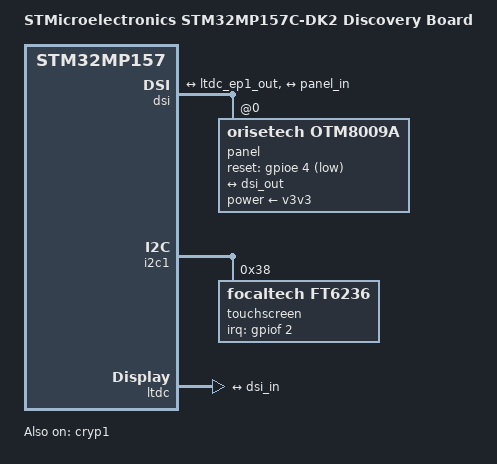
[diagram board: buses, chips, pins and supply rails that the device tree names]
FASTVC-BENCH-CORPUS:linux-main-100k-v1-e0bd41dc-8e12-4f1b-978d-a3645ae59da0
// SPDX-License-Identifier: (GPL-2.0+ OR BSD-3-Clause)
/*
 * Copyright (C) STMicroelectronics 2019 - All Rights Reserved
 * Author: Alexandre Torgue <alexandre.torgue@st.com> for STMicroelectronics.
 */
/* bench 26594.1.0 18c214dbce26 */
/* bench 26594.1.1 08473f96636a */
/* bench 26594.1.2 e5229cb0d063 */
/* bench 26594.1.3 9375527055b5 */
/* bench 26594.1.4 8d7ab46739da */
/* bench 26594.1.5 c41a13e3159f */

/dts-v1/;

#include "stm32mp157.dtsi"
#include "stm32mp15xc.dtsi"
#include "stm32mp15-pinctrl.dtsi"
#include "stm32mp15xxac-pinctrl.dtsi"
#include "stm32mp15xx-dkx.dtsi"

/ {
	model = "STMicroelectronics STM32MP157C-DK2 Discovery Board";
	compatible = "st,stm32mp157c-dk2", "st,stm32mp157";

	aliases {
		ethernet0 = &ethernet0;
		serial0 = &uart4;
		serial1 = &usart3;
		serial2 = &uart7;
		serial3 = &usart2;
	};

	chosen {
		stdout-path = "serial0:115200n8";
	};
};

&cryp1 {
	status = "okay";
};

&dsi {
	status = "okay";
	phy-dsi-supply = <&reg18>;

	ports {
		port@0 {
			reg = <0>;
			dsi_in: endpoint {
				remote-endpoint = <&ltdc_ep1_out>;
			};
		};

		port@1 {
			reg = <1>;
			dsi_out: endpoint {
				remote-endpoint = <&panel_in>;
			};
		};
	};

	panel@0 {
		compatible = "orisetech,otm8009a";
		reg = <0>;
		reset-gpios = <&gpioe 4 GPIO_ACTIVE_LOW>;
		power-supply = <&v3v3>;
		status = "okay";

		port {
			panel_in: endpoint {
				remote-endpoint = <&dsi_out>;
			};
		};
	};
};

&i2c1 {
	touchscreen@38 {
		compatible = "focaltech,ft6236";
		reg = <0x38>;
		interrupts = <2 2>;
		interrupt-parent = <&gpiof>;
		interrupt-controller;
		touchscreen-size-x = <480>;
		touchscreen-size-y = <800>;
		status = "okay";
	};
};

&ltdc {
	status = "okay";

/* bench 17039.0.0 a304d906a4d5 */
/* bench 17039.0.1 f539ff2e6dd9 */
/* bench 17039.0.2 c7684cca0d19 */
/* bench 17039.0.3 0c966649a762 */
/* bench 17039.0.4 cbb72a83c719 */
/* bench 17039.0.5 f4c55acc3853 */
/* bench 17039.0.6 0c2d10e05398 */
/* bench 17039.0.7 844e78de16f4 */
		ltdc_ep1_out: endpoint@1 {
			reg = <1>;
			remote-endpoint = <&dsi_in>;
		};
	};
};

&usart2 {
	pinctrl-names = "default", "sleep", "idle";
	pinctrl-0 = <&usart2_pins_c>;
	pinctrl-1 = <&usart2_sleep_pins_c>;
	pinctrl-2 = <&usart2_idle_pins_c>;
	status = "disabled";
};
